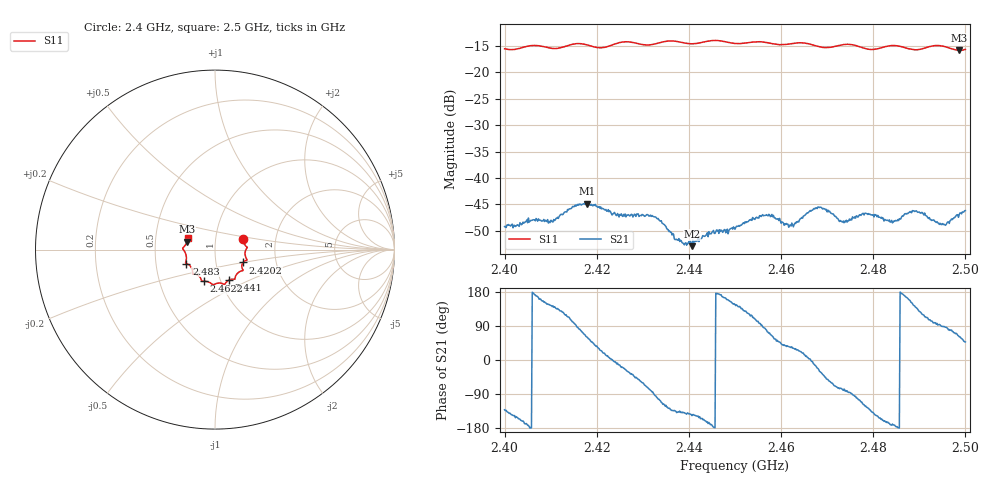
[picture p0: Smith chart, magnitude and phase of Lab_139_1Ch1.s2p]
# Hz S RI R
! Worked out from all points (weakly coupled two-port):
!   601 points, 2.4 GHz to 2.5 GHz, reference 50 ohm
!   highest |S21| = -44.88 dB at 2.4178 GHz (marker M1); lowest = -53.0 dB at 2.4407 GHz (marker M2)
!   lowest |S11| = -15.8 dB at 2.4987 GHz (marker M3), VSWR 1.39, Z = 36.4 + j3.29 ohm
!   |S11| at or under -10 dB: start of sweep to end of sweep
!   S12 and S22 are empty: the file has one direction only
!   S11 on the Smith chart (normalised r, x): 2.4 GHz: 1.36, +0.17; 2.4202 GHz: 1.35, -0.20; 2.441 GHz: 1.10, -0.39; 2.4622 GHz: 0.83, -0.30; 2.483 GHz: 0.72, -0.12; 2.5 GHz: 0.73, +0.09
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2.4e9  0.1562 0.0604  -0.00228 -0.00259  0 0  0 0
2.41e9  0.1696 -0.0074  -0.0032 0.00232  0 0  0 0
2.416667e9  0.1776 -0.0583  0.00132 0.00537  0 0  0 0
2.417833e9  0.1728 -0.0601  0.00281 0.00496  0 0  0 0
2.420167e9  0.1563 -0.0718  0.00441 0.00289  0 0  0 0
2.433333e9  0.113 -0.1523  -0.000944 -0.00401  0 0  0 0
2.437333e9  0.1068 -0.1653  -0.00197 -0.00172  0 0  0 0
2.440667e9  0.0801 -0.1688  -0.00188 -0.00123  0 0  0 0
2.441e9  0.077 -0.1705  -0.00196 -0.00142  0 0  0 0
2.45e9  0.0267 -0.1862  -0.0027 0.00182  0 0  0 0
2.457e9  -0.0185 -0.1908  0.00116 0.00425  0 0  0 0
2.462167e9  -0.063 -0.1765  0.00294 0.00189  0 0  0 0
2.466667e9  -0.0767 -0.1669  0.00491 -0.000343  0 0  0 0
2.469e9  -0.0876 -0.1488  0.00401 -0.00311  0 0  0 0
2.473167e9  -0.1216 -0.1363  0.000925 -0.00373  0 0  0 0
2.478167e9  -0.1266 -0.112  -0.0024 -0.00395  0 0  0 0
2.483e9  -0.159 -0.0779  -0.00384 -0.00101  0 0  0 0
2.483333e9  -0.1607 -0.0772  -0.00379 -0.000908  0 0  0 0
2.489e9  -0.1603 -0.0351  -0.00379 0.00293  0 0  0 0
2.495333e9  -0.1762 0.0121  9.11e-05 0.00364  0 0  0 0
2.498667e9  -0.156 0.0441  0.00216 0.00394  0 0  0 0
2.5e9  -0.1529 0.0627  0.00329 0.00362  0 0  0 0
